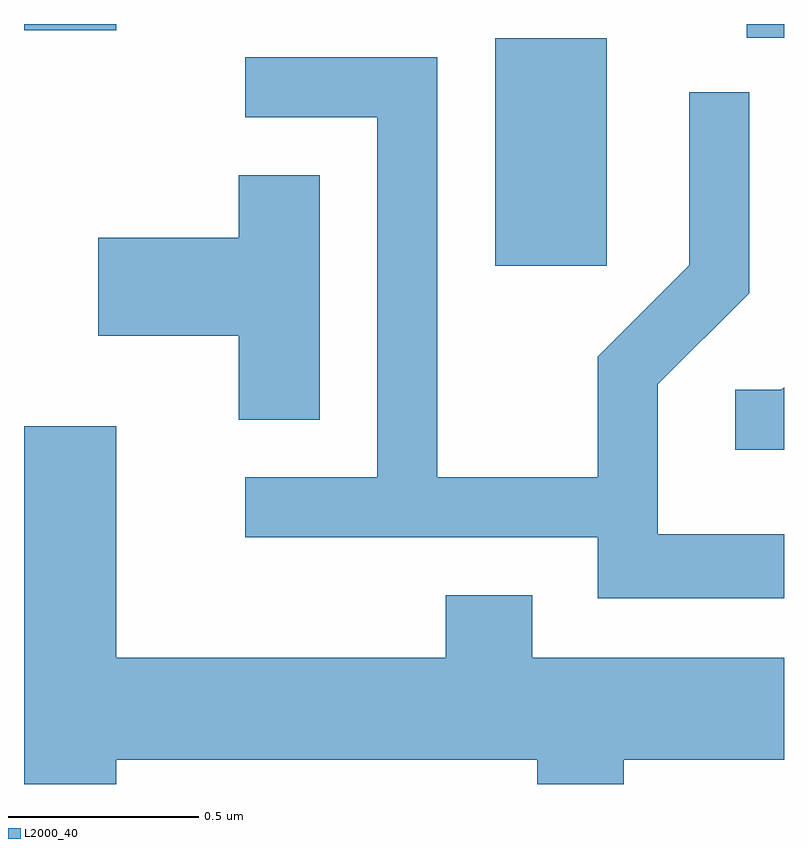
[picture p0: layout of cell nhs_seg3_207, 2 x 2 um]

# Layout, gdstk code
import gdstk
lib = gdstk.Library(unit=1e-6, precision=1e-09)
def R(c, l, rs):  # rectangles x0, y0, x1, y1
    for r in rs: c.add(gdstk.rectangle(r[:2], r[2:], *l))
def P(c, l, *ps):  # polygons
    for p in ps: c.add(gdstk.Polygon(p, *l))
L2000_40 = (2000, 40)

nhs_seg3_207 = lib.new_cell('nhs_seg3_207')
R(nhs_seg3_207, L2000_40, [(187.851,1187.256,188.144,1187.854), (188.513,1187.856,188.611,1187.892), (186.611,1187.876,186.854,1187.892)])
P(nhs_seg3_207, L2000_40, [(188.611,1186.549),(188.279,1186.549),(188.279,1186.944),(188.519,1187.184),(188.519,1187.713),(188.361,1187.713),(188.361,1187.257),(188.121,1187.017),(188.121,1186.699),(187.699,1186.699),(187.699,1187.804),(187.193,1187.804),(187.193,1187.646),(187.541,1187.646),(187.541,1186.699),(187.193,1186.699),(187.193,1186.541),(188.121,1186.541),(188.121,1186.381),(188.611,1186.381)],
  [(187.389,1187.494),(187.176,1187.494),(187.176,1187.329),(186.806,1187.329),(186.806,1187.071),(187.176,1187.071),(187.176,1186.851),(187.389,1186.851)],
  [(188.611,1186.936),(188.604,1186.929),(188.483,1186.929),(188.483,1186.771),(188.611,1186.771)],
  [(186.854,1185.956),(187.961,1185.956),(187.961,1185.892),(188.189,1185.892),(188.189,1185.956),(188.611,1185.956),(188.611,1186.224),(187.949,1186.224),(187.949,1186.389),(187.721,1186.389),(187.721,1186.224),(186.854,1186.224),(186.854,1186.834),(186.611,1186.834),(186.611,1185.892),(186.854,1185.892)])

lib.write_gds('nhs_seg3_207.gds')
